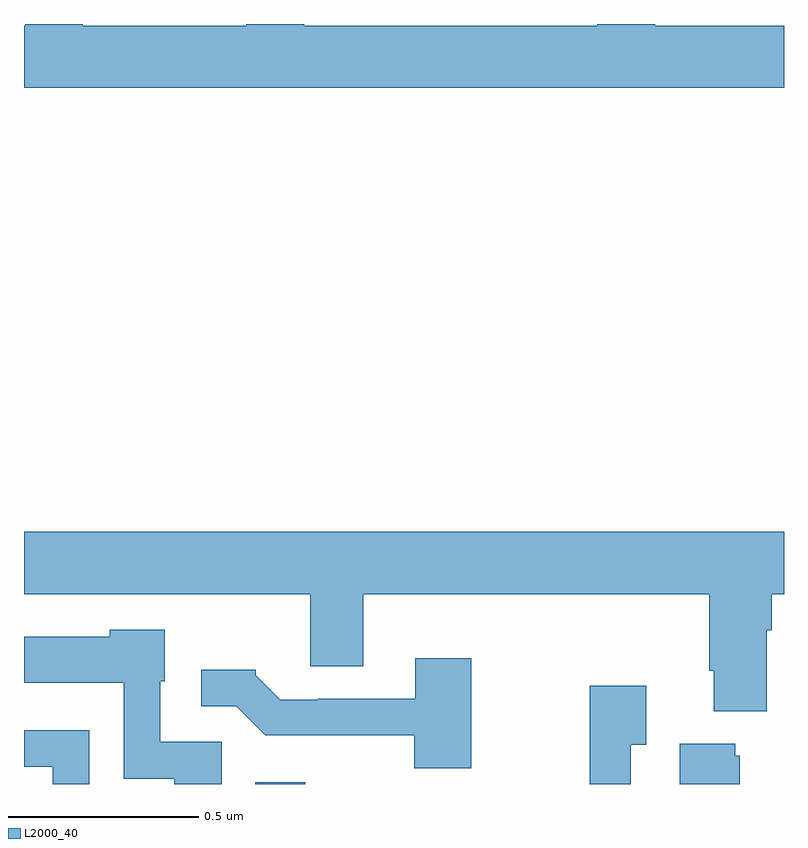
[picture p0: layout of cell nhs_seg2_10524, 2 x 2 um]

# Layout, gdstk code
import gdstk
lib = gdstk.Library(unit=1e-6, precision=1e-09)
def R(c, l, rs):  # rectangles x0, y0, x1, y1
    for r in rs: c.add(gdstk.rectangle(r[:2], r[2:], *l))
def P(c, l, *ps):  # polygons
    for p in ps: c.add(gdstk.Polygon(p, *l))
L2000_40 = (2000, 40)

nhs_seg2_10524 = lib.new_cell('nhs_seg2_10524')
R(nhs_seg2_10524, L2000_40, [(242.609,649.8,242.74,649.804)])
P(nhs_seg2_10524, L2000_40, [(244,651.796),(243.661,651.796),(243.661,651.8),(243.509,651.8),(243.509,651.796),(242.738,651.796),(242.738,651.8),(242.585,651.8),(242.585,651.796),(242.155,651.796),(242.155,651.8),(242.003,651.8),(242.003,651.796),(242,651.796),(242,651.632),(244,651.632)],
  [(243.955,650.204),(243.968,650.204),(243.968,650.3),(244,650.3),(244,650.464),(242,650.464),(242,650.3),(242.753,650.3),(242.753,650.11),(242.893,650.11),(242.893,650.3),(243.803,650.3),(243.803,650.098),(243.815,650.098),(243.815,649.991),(243.955,649.991)],
  [(242.521,649.911),(242.358,649.911),(242.358,650.07),(242.371,650.07),(242.371,650.206),(242.226,650.206),(242.226,650.188),(242,650.188),(242,650.066),(242.262,650.066),(242.262,649.814),(242.396,649.814),(242.396,649.8),(242.521,649.8)],
  [(243.177,650.131),(243.029,650.131),(243.029,650.025),(242.773,650.025),(242.773,650.022),(242.674,650.022),(242.61,650.086),(242.61,650.101),(242.466,650.101),(242.466,650.004),(242.559,650.004),(242.635,649.928),(243.027,649.928),(243.027,649.841),(243.177,649.841)],
  [(243.597,649.903),(243.637,649.903),(243.637,650.059),(243.489,650.059),(243.489,649.8),(243.597,649.8)],
  [(242.172,649.941),(242,649.941),(242,649.845),(242.076,649.845),(242.076,649.8),(242.172,649.8)],
  [(243.883,649.875),(243.872,649.875),(243.872,649.906),(243.725,649.906),(243.725,649.8),(243.883,649.8)])

lib.write_gds('nhs_seg2_10524.gds')
